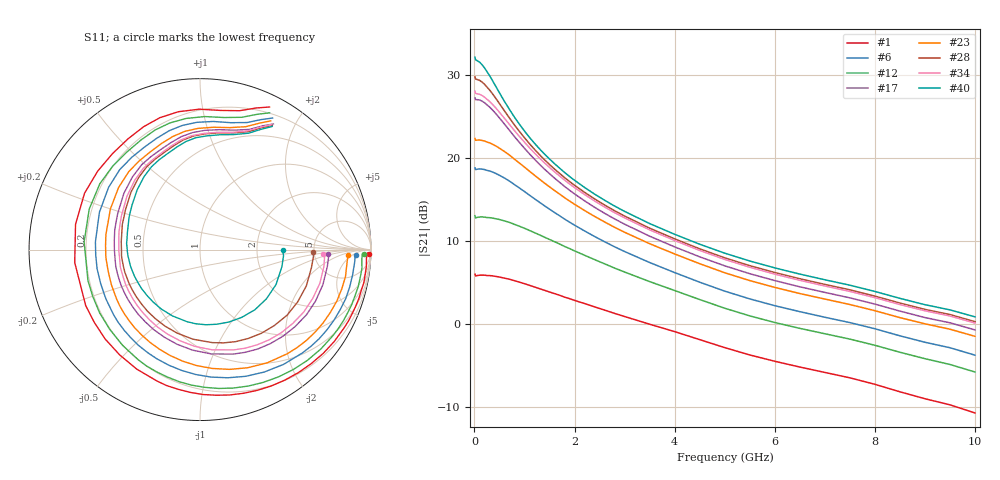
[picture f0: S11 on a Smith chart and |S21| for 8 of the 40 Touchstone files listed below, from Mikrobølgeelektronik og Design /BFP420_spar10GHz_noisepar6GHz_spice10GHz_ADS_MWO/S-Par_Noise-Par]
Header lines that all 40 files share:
! Infineon Technologies  Discrete & RF Semiconductors
! BFP420
! Common Emitter S-Parameters:  Nov 2009
# GHz  S  MA  R  50
!  f  S11  S21  S12  S22
! GHz  MAG  ANG  MAG  ANG  MAG  ANG  MAG  ANG
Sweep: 10 MHz to 10 GHz
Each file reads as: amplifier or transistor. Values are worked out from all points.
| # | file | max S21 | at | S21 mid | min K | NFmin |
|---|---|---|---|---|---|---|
| 1 | 2p0V50M5.s2p | 6.1 dB | 10 MHz | 3.5 dB at 1.7 GHz | 0.00 | 0.68 dB |
| 2 | 2p0V51M5.s2p | 14.8 dB | 10 MHz | 10.0 dB at 1.7 GHz | 0.00 | 0.52 dB |
| 3 | 2p0V52M5.s2p | 18.7 dB | 10 MHz | 12.2 dB at 1.7 GHz | 0.02 | 0.55 dB |
| 4 | 2p0V59M0.s2p | 27.9 dB | 10 MHz | 15.2 dB at 1.7 GHz | 0.10 | - |
| 5 | 2p0V515M.s2p | 30.6 dB | 10 MHz | 15.4 dB at 1.7 GHz | 0.17 | 1.06 dB |
| 6 | 2p1V02M5.s2p | 18.9 dB | 10 MHz | 13.1 dB at 1.7 GHz | 0.02 | 0.55 dB |
| 7 | 2p1V08M0.s2p | 27.2 dB | 10 MHz | 16.3 dB at 1.7 GHz | 0.09 | 0.79 dB |
| 8 | 2p1V09M0.s2p | 28.0 dB | 10 MHz | 16.5 dB at 1.7 GHz | 0.09 | - |
| 9 | 2p1V025M.s2p | 33.1 dB | 10 MHz | 17.2 dB at 1.7 GHz | 0.23 | 1.38 dB |
| 10 | 2p1V030M.s2p | 33.7 dB | 10 MHz | 17.1 dB at 1.7 GHz | 0.27 | 1.51 dB |
| 11 | 2p1V50M5.s2p | 6.1 dB | 10 MHz | 4.1 dB at 1.7 GHz | -0.01 | 0.68 dB |
| 12 | 2p1V51M2.s2p | 13.1 dB | 10 MHz | 9.7 dB at 1.7 GHz | -0.01 | 0.53 dB |
| 13 | 2p1V54M0.s2p | 22.4 dB | 10 MHz | 15.1 dB at 1.7 GHz | -0.12 | 0.61 dB |
| 14 | 2p1V59M0.s2p | 28.0 dB | 10 MHz | 17.0 dB at 1.7 GHz | 0.09 | - |
| 15 | 2p2V04M0.s2p | 22.4 dB | 10 MHz | 15.4 dB at 1.7 GHz | -0.01 | 0.61 dB |
| 16 | 2p2V05M0.s2p | 24.0 dB | 10 MHz | 16.1 dB at 1.7 GHz | 0.05 | 0.66 dB |
| 17 | 2p2V08M0.s2p | 27.3 dB | 10 MHz | 17.1 dB at 1.7 GHz | 0.08 | 0.79 dB |
| 18 | 2p2V51M0.s2p | 11.6 dB | 10 MHz | 8.8 dB at 1.7 GHz | -0.03 | 0.53 dB |
| 19 | 2p2V56M0.s2p | 25.3 dB | 10 MHz | 16.7 dB at 1.7 GHz | 0.07 | 0.70 dB |
| 20 | 2p2V512M.s2p | 29.8 dB | 10 MHz | 17.9 dB at 1.7 GHz | 0.11 | 0.95 dB |
| 21 | 2p3V01M5.s2p | 14.9 dB | 10 MHz | 11.3 dB at 1.7 GHz | 0.02 | 0.52 dB |
| 22 | 2p3V03M0.s2p | 20.2 dB | 10 MHz | 14.6 dB at 1.7 GHz | 0.04 | 0.57 dB |
| 23 | 2p3V04M0.s2p | 22.4 dB | 10 MHz | 15.7 dB at 1.7 GHz | 0.05 | 0.61 dB |
| 24 | 2p3V06M0.s2p | 25.4 dB | 10 MHz | 16.9 dB at 1.7 GHz | 0.08 | 0.70 dB |
| 25 | 2p3V015M.s2p | 31.0 dB | 10 MHz | 18.3 dB at 1.7 GHz | 0.16 | 1.06 dB |
| 26 | 2p3V025M.s2p | 33.3 dB | 10 MHz | 18.6 dB at 1.7 GHz | 0.22 | 1.38 dB |
| 27 | 2p3V56M0.s2p | 25.4 dB | 10 MHz | 17.0 dB at 1.7 GHz | 0.11 | 0.70 dB |
| 28 | 2p3V512M.s2p | 29.8 dB | 10 MHz | 18.2 dB at 1.7 GHz | 0.18 | 0.95 dB |
| 29 | 2p4V01M2.s2p | 12.9 dB | 10 MHz | 10.0 dB at 1.7 GHz | 0.03 | 0.53 dB |
| 30 | 2p4V01M5.s2p | 14.9 dB | 10 MHz | 11.5 dB at 1.7 GHz | 0.04 | 0.52 dB |
| 31 | 2p4V02M0.s2p | 17.0 dB | 10 MHz | 12.9 dB at 1.7 GHz | 0.06 | 0.53 dB |
| 32 | 2p4V03M0.s2p | 20.3 dB | 10 MHz | 14.8 dB at 1.7 GHz | 0.08 | 0.57 dB |
| 33 | 2p4V05M0.s2p | 24.1 dB | 10 MHz | 16.6 dB at 1.7 GHz | 0.13 | 0.66 dB |
| 34 | 2p4V09M0.s2p | 28.1 dB | 10 MHz | 17.9 dB at 1.7 GHz | 0.20 | - |
| 35 | 2p4V025M.s2p | 33.2 dB | 10 MHz | 18.9 dB at 1.7 GHz | 0.33 | 1.38 dB |
| 36 | 2p4V53M0.s2p | 20.3 dB | 10 MHz | 14.9 dB at 1.7 GHz | 0.11 | 0.57 dB |
| 37 | 2p4V56M0.s2p | 25.5 dB | 10 MHz | 17.1 dB at 1.7 GHz | 0.20 | 0.70 dB |
| 38 | 2p4V58M0.s2p | 27.4 dB | 10 MHz | 17.7 dB at 1.7 GHz | 0.24 | 0.79 dB |
| 39 | 2p4V515M.s2p | 30.9 dB | 10 MHz | 18.6 dB at 1.7 GHz | 0.36 | 1.06 dB |
| 40 | 2p4V520M.s2p | 32.2 dB | 10 MHz | 18.8 dB at 1.7 GHz | 0.40 | 1.23 dB |

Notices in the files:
7. Semester/Mikrobølgeelektronik og Design /BFP420_spar10GHz_noisepar6GHz_spice10GHz_ADS_MWO/S-Par_Noise-Par/2p0V50M5.s2p:
(c) 2009  Infineon Technologies AG, Munich
